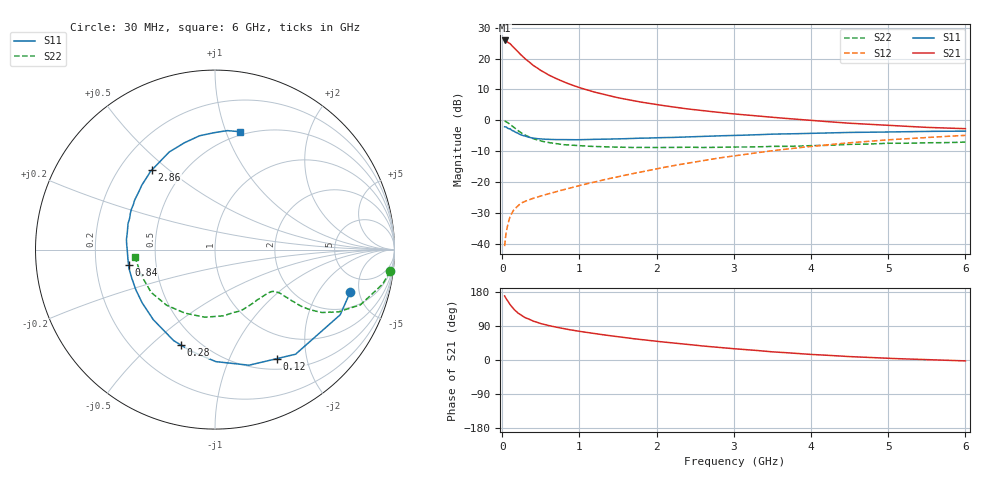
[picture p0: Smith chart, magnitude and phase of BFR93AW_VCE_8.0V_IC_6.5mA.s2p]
! Infineon Technologies  Discrete & RF Semiconductors
! BFR93AW
! VCE =  8.0 V,  IC =  6.5 mA
! Common Emitter S-Parameters:  Nov 2015
# GHz  S  MA  R  50
!  f  S11  S21  S12  S22
! GHz  MAG  ANG  MAG  ANG  MAG  ANG  MAG  ANG
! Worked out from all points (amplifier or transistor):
!   206 points, 30 MHz to 6 GHz, reference 50 ohm
!   highest |S21| = 25.8 dB at 30 MHz (marker M1)
!   |S21| within 3 dB of that: start of sweep to 177 MHz
!   unconditionally stable (mu >= 1): 878.9 MHz to 2.211 GHz
!   at 200 MHz: K = 0.36, MSG = 24.9 dB, |S12| = -27.6 dB
!   at 1.56 GHz: K = 1.08, MAG = 10.8 dB, |S12| = -17.9 dB
!   at 6 GHz: K = 0.90, MSG = 1.1 dB, |S12| = -4.8 dB
!   S11 on the Smith chart (normalised r, x): 30 MHz: 3.21, -4.05; 120 MHz: 0.64, -1.52; 280 MHz: 0.40, -0.62; 840 MHz: 0.35, -0.08; 2.86 GHz: 0.34, +0.44; 6 GHz: 0.47, +1.12
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0.03  0.7898 -17.5  19.6 169.0  0.0093 80.4  0.9826 -7.1
0.05  0.7864 -27.5  19.27 161.7  0.0155 77.2  0.9542 -11.6
0.1  0.7357 -52.4  17.41 146.2  0.0278 65.1  0.8667 -20.8
0.12  0.6986 -60.4  16.37 141.6  0.0311 62.3  0.8272 -23.0
0.15  0.6714 -73.6  15.03 133.7  0.0361 59.0  0.7705 -26.8
0.2  0.6241 -89.6  12.97 124.4  0.0416 54.0  0.6907 -30.5
0.24  0.5869 -100.5  11.54 118.7  0.0456 51.1  0.6368 -32.0
0.28  0.5641 -109.9  10.36 113.8  0.0484 50.1  0.5948 -32.9
0.3  0.557 -114.4  9.821 111.3  0.0496 49.9  0.5758 -33.3
0.4  0.5202 -131.4  7.767 102.6  0.0551 49.2  0.5072 -33.7
0.5  0.5026 -143.9  6.417 96.0  0.0602 50.2  0.4647 -33.8
0.6  0.4946 -153.1  5.433 90.9  0.0654 52.2  0.439 -33.8
0.7  0.4902 -161.0  4.731 86.5  0.071 53.7  0.4212 -34.3
0.84  0.4892 -169.9  3.996 81.2  0.0786 56.7  0.4025 -35.4
1.04  0.4892 -179.9  3.272 74.4  0.0912 60.2  0.3875 -37.7
1.5  0.5058 163.3  2.325 61.4  0.1231 65.2  0.3715 -46.1
2.02  0.526 148.0  1.787 48.9  0.1671 66.9  0.3659 -58.2
2.86  0.5663 128.3  1.328 32.3  0.2526 64.3  0.369 -79.4
3.1  0.576 123.1  1.243 28.3  0.278 62.5  0.3715 -86.2
4.1  0.6224 104.2  0.979 13.7  0.3911 52.8  0.3931 -118.6
5.1  0.6534 89.3  0.819 3.7  0.4948 40.5  0.4273 -149.1
6  0.6712 78.2  0.736 -2.3  0.5736 29.4  0.4469 -174.5
